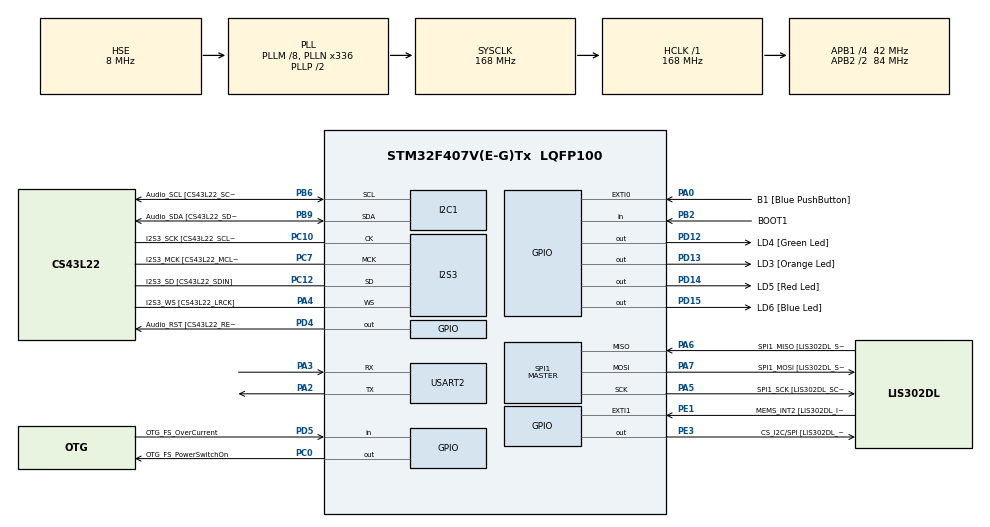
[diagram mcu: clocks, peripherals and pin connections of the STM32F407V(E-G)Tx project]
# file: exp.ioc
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FREERTOS.Tasks01=IdleTask,8,128,StartIDLETask,Default,NULL,Dynamic,NULL,NULL;myTask02,16,128,StartTask02,Default,NULL,Dynamic,NULL,NULL;myTask03,24,128,StartTask03,Default,NULL,Dynamic,NULL,NULL;myIWDGTask04,32,128,StartIWDGTask04,Default,NULL,Dynamic,NULL,NULL;myLoRaSETTask05,48,128,StartLoRaSETTask05,Default,NULL,Dynamic,NULL,NULL
I2S3.AudioFreq-Half_Duplex_Master=I2S_AUDIOFREQ_96K
I2S3.ErrorAudioFreq=-2.34 %
I2S3.ErrorAudioFreq-Half_Duplex_Master=0.8 %
I2S3.FullDuplexMode=I2S_FULLDUPLEXMODE_DISABLE
I2S3.Instance=SPI$Index
I2S3.RealAudioFreq=93.75 KHz
I2S3.RealAudioFreq-Half_Duplex_Master=96.774 KHz
I2S3.VirtualMode=I2S_MODE_MASTER
IWDG.Prescaler=IWDG_PRESCALER_64
Mcu.Family=STM32F4
Mcu.Name=STM32F407V(E-G)Tx
Mcu.Package=LQFP100
NVIC.PriorityGroup=NVIC_PRIORITYGROUP_4
PA0-WKUP.GPIO_Label=B1 [Blue PushButton]
PA0-WKUP.GPIO_ModeDefaultEXTI=GPIO_MODE_EVT_RISING
PA0-WKUP.GPIO_PuPd=GPIO_NOPULL
PA0-WKUP.Signal=GPXTI0
PA10.GPIO_Label=OTG_FS_ID
PA10.GPIO_Mode=GPIO_MODE_AF_PP
PA10.GPIO_PuPd=GPIO_NOPULL
PA10.GPIO_Speed=GPIO_SPEED_FREQ_LOW
PA10.Signal=USB_OTG_FS_ID
PA11.GPIO_Label=OTG_FS_DM
PA11.GPIO_Mode=GPIO_MODE_AF_PP
PA11.GPIO_PuPd=GPIO_NOPULL
PA11.GPIO_Speed=GPIO_SPEED_FREQ_LOW
PA11.Signal=USB_OTG_FS_DM
PA12.GPIO_Label=OTG_FS_DP
PA12.GPIO_Mode=GPIO_MODE_AF_PP
PA12.GPIO_PuPd=GPIO_NOPULL
PA12.GPIO_Speed=GPIO_SPEED_FREQ_LOW
PA12.Signal=USB_OTG_FS_DP
PA13.GPIO_Label=SWDIO
PA13.Mode=Serial_Wire
PA13.Signal=SYS_JTMS-SWDIO
PA14.GPIO_Label=SWCLK
PA14.Mode=Serial_Wire
PA14.Signal=SYS_JTCK-SWCLK
PA2.Mode=Asynchronous
PA2.Signal=USART2_TX
PA3.Mode=Asynchronous
PA3.Signal=USART2_RX
PA4.GPIO_Label=I2S3_WS [CS43L22_LRCK]
PA4.GPIO_Mode=GPIO_MODE_AF_PP
PA4.GPIO_PuPd=GPIO_NOPULL
PA4.GPIO_Speed=GPIO_SPEED_FREQ_LOW
PA4.Mode=Half_Duplex_Master
PA4.Signal=I2S3_WS
PA5.GPIO_Label=SPI1_SCK [LIS302DL_SCL/SPC]
PA5.GPIO_Mode=GPIO_MODE_AF_PP
PA5.GPIO_PuPd=GPIO_NOPULL
PA5.GPIO_Speed=GPIO_SPEED_FREQ_LOW
PA5.Mode=Full_Duplex_Master
PA5.Signal=SPI1_SCK
PA6.GPIO_Label=SPI1_MISO [LIS302DL_SDO]
PA6.GPIO_Mode=GPIO_MODE_AF_PP
PA6.GPIO_PuPd=GPIO_NOPULL
PA6.GPIO_Speed=GPIO_SPEED_FREQ_LOW
PA6.Mode=Full_Duplex_Master
PA6.Signal=SPI1_MISO
PA7.GPIO_Label=SPI1_MOSI [LIS302DL_SDA/SDI/SDO]
PA7.GPIO_Mode=GPIO_MODE_AF_PP
PA7.GPIO_PuPd=GPIO_NOPULL
PA7.GPIO_Speed=GPIO_SPEED_FREQ_LOW
PA7.Mode=Full_Duplex_Master
PA7.Signal=SPI1_MOSI
PA9.GPIO_Label=VBUS_FS
PA9.GPIO_Mode=GPIO_MODE_INPUT
PA9.GPIO_PuPd=GPIO_NOPULL
PA9.Signal=USB_OTG_FS_VBUS
PB10.GPIO_Label=CLK_IN [MP45DT02_CLK]
PB10.GPIO_Mode=GPIO_MODE_AF_PP
PB10.GPIO_PuPd=GPIO_NOPULL
PB10.GPIO_Speed=GPIO_SPEED_FREQ_LOW
PB10.Signal=I2S2_CK
PB2.GPIO_Label=BOOT1
PB2.GPIO_Mode=GPIO_MODE_INPUT
PB2.GPIO_PuPd=GPIO_NOPULL
PB2.Signal=GPIO_Input
PB3.GPIO_Label=SWO
PB3.Signal=SYS_JTDO-SWO
PB6.GPIO_Label=Audio_SCL [CS43L22_SCL]
PB6.GPIO_Mode=GPIO_MODE_AF_OD
PB6.GPIO_PuPd=GPIO_NOPULL
PB6.GPIO_Speed=GPIO_SPEED_FREQ_LOW
PB6.Mode=I2C
PB6.Signal=I2C1_SCL
PB9.GPIO_Label=Audio_SDA [CS43L22_SDA]
PB9.GPIO_Mode=GPIO_MODE_AF_OD
PB9.GPIO_PuPd=GPIO_NOPULL
PB9.GPIO_Speed=GPIO_SPEED_FREQ_LOW
PB9.Mode=I2C
PB9.Signal=I2C1_SDA
PC0.GPIO_Label=OTG_FS_PowerSwitchOn
PC0.GPIO_PuPd=GPIO_NOPULL
PC0.GPIO_Speed=GPIO_SPEED_FREQ_LOW
PC0.PinState=GPIO_PIN_SET
PC0.Signal=GPIO_Output
PC10.GPIO_Label=I2S3_SCK [CS43L22_SCLK]
PC10.GPIO_Mode=GPIO_MODE_AF_PP
PC10.GPIO_PuPd=GPIO_NOPULL
PC10.GPIO_Speed=GPIO_SPEED_FREQ_LOW
PC10.Mode=Half_Duplex_Master
PC10.Signal=I2S3_CK
PC12.GPIO_Label=I2S3_SD [CS43L22_SDIN]
PC12.GPIO_Mode=GPIO_MODE_AF_PP
PC12.GPIO_PuPd=GPIO_NOPULL
PC12.GPIO_Speed=GPIO_SPEED_FREQ_LOW
PC12.Mode=Half_Duplex_Master
PC12.Signal=I2S3_SD
PC14-OSC32_IN.GPIO_Label=PC14-OSC32_IN
PC14-OSC32_IN.Mode=LSE-External-Oscillator
PC14-OSC32_IN.Signal=RCC_OSC32_IN
PC15-OSC32_OUT.GPIO_Label=PC15-OSC32_OUT
PC15-OSC32_OUT.Mode=LSE-External-Oscillator
PC15-OSC32_OUT.Signal=RCC_OSC32_OUT
PC3.GPIO_Label=PDM_OUT [MP45DT02_DOUT]
PC3.GPIO_Mode=GPIO_MODE_AF_PP
PC3.GPIO_PuPd=GPIO_NOPULL
PC3.GPIO_Speed=GPIO_SPEED_FREQ_LOW
PC3.Signal=I2S2_SD
PC7.GPIO_Label=I2S3_MCK [CS43L22_MCLK]
PC7.GPIO_Mode=GPIO_MODE_AF_PP
PC7.GPIO_PuPd=GPIO_NOPULL
PC7.GPIO_Speed=GPIO_SPEED_FREQ_LOW
PC7.Mode=Master_Clock_Activated
PC7.Signal=I2S3_MCK
PD12.GPIO_Label=LD4 [Green Led]
PD12.GPIO_PuPd=GPIO_NOPULL
PD12.GPIO_Speed=GPIO_SPEED_FREQ_LOW
PD12.Signal=GPIO_Output
PD13.GPIO_Label=LD3 [Orange Led]
PD13.GPIO_PuPd=GPIO_NOPULL
PD13.GPIO_Speed=GPIO_SPEED_FREQ_LOW
PD13.Signal=GPIO_Output
PD14.GPIO_Label=LD5 [Red Led]
PD14.GPIO_PuPd=GPIO_NOPULL
PD14.GPIO_Speed=GPIO_SPEED_FREQ_LOW
PD14.Signal=GPIO_Output
PD15.GPIO_Label=LD6 [Blue Led]
PD15.GPIO_PuPd=GPIO_NOPULL
PD15.GPIO_Speed=GPIO_SPEED_FREQ_LOW
PD15.Signal=GPIO_Output
PD4.GPIO_Label=Audio_RST [CS43L22_RESET]
PD4.GPIO_PuPd=GPIO_NOPULL
PD4.GPIO_Speed=GPIO_SPEED_FREQ_LOW
PD4.Signal=GPIO_Output
PD5.GPIO_Label=OTG_FS_OverCurrent
PD5.GPIO_Mode=GPIO_MODE_INPUT
PD5.GPIO_PuPd=GPIO_NOPULL
PD5.Signal=GPIO_Input
PE1.GPIO_Label=MEMS_INT2 [LIS302DL_INT2]
PE1.GPIO_ModeDefaultEXTI=GPIO_MODE_EVT_RISING
PE1.GPIO_PuPd=GPIO_NOPULL
PE1.Signal=GPXTI1
PE3.GPIO_Label=CS_I2C/SPI [LIS302DL_CS_I2C/SPI]
PE3.GPIO_PuPd=GPIO_NOPULL
PE3.GPIO_Speed=GPIO_SPEED_FREQ_LOW
PE3.Signal=GPIO_Output
PH0-OSC_IN.GPIO_Label=PH0-OSC_IN
PH0-OSC_IN.Mode=HSE-External-Oscillator
PH0-OSC_IN.Signal=RCC_OSC_IN
PH1-OSC_OUT.GPIO_Label=PH1-OSC_OUT
PH1-OSC_OUT.Mode=HSE-External-Oscillator
PH1-OSC_OUT.Signal=RCC_OSC_OUT
ProjectManager.HeapSize=0x200
ProjectManager.StackSize=0x400
ProjectManager.TargetToolchain=STM32CubeIDE
RCC.48MHZClocksFreq_Value=48000000
RCC.AHBFreq_Value=168000000
RCC.APB1CLKDivider=RCC_HCLK_DIV4
RCC.APB1Freq_Value=42000000
RCC.APB1TimFreq_Value=84000000
RCC.APB2CLKDivider=RCC_HCLK_DIV2
RCC.APB2Freq_Value=84000000
RCC.APB2TimFreq_Value=168000000
RCC.CortexFreq_Value=168000000
RCC.HCLKFreq_Value=168000000
RCC.HSE_VALUE=8000000
RCC.HSI_VALUE=16000000
RCC.PLLM=8
RCC.PLLN=336
RCC.PLLQ=7
RCC.PLLSourceVirtual=RCC_PLLSOURCE_HSE
RCC.SYSCLKFreq_VALUE=168000000
RCC.SYSCLKSource=RCC_SYSCLKSOURCE_PLLCLK
RCC.VCOOutputFreq_Value=336000000
SPI1.BaudRatePrescaler-Full_Duplex_Master=SPI_BAUDRATEPRESCALER_2
SPI1.CalculateBaudRate-Full_Duplex_Master=42.0 MBits/s
SPI1.Direction=SPI_DIRECTION_2LINES
SPI1.Mode=SPI_MODE_MASTER
SPI1.Mode-Full_Duplex_Master=SPI_MODE_MASTER
SPI1.VirtualType=VM_MASTER
USART2.VirtualMode=VM_ASYNC
VP_FREERTOS_VS_CMSIS_V2.Mode=CMSIS_V2
VP_IWDG_VS_IWDG.Mode=IWDG_Activate
VP_RTC_VS_RTC_Activate.Mode=RTC_Enabled
VP_RTC_VS_RTC_Calendar.Mode=RTC_Calendar
VP_TIM1_VS_ClockSourceINT.Mode=Internal
board=STM32F407G-DISC1

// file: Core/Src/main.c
/* USER CODE BEGIN Header */
/**
  ******************************************************************************
  * @file           : main.c
  * @brief          : Main program body
  ******************************************************************************
  * @attention
  *
  * <h2><center>&copy; Copyright (c) 2021 STMicroelectronics.
  * All rights reserved.</center></h2>
  *
  * This software component is licensed by ST under Ultimate Liberty license
  * SLA0044, the "License"; You may not use this file except in compliance with
  * the License. You may obtain a copy of the License at:
  *                             www.st.com/SLA0044
  *
  ******************************************************************************
  */
/* USER CODE END Header */

#include "main.h"
#include "cmsis_os.h"

/* USER CODE BEGIN Includes */
#include "FreeRTOSConfig.h"
#include "event_groups.h"
/* USER CODE END Includes */

/* USER CODE BEGIN PD */
#define IWDG_BIT_myTask02   (1 << 0)  //task02 flag
#define IWDG_BIT_myTask03   (1 << 1)  //task03 flag
#define IWDG_BIT_ALL (IWDG_BIT_myTask02 | IWDG_BIT_myTask03) //feed dog
/* USER CODE END PD */

I2C_HandleTypeDef hi2c1;

I2S_HandleTypeDef hi2s3;

IWDG_HandleTypeDef hiwdg;

RTC_HandleTypeDef hrtc;

SPI_HandleTypeDef hspi1;

TIM_HandleTypeDef htim1;

UART_HandleTypeDef huart2;

/* Definitions for IdleTask */
osThreadId_t IdleTaskHandle;
const osThreadAttr_t IdleTask_attributes = {
  .name = "IdleTask",
  .priority = (osPriority_t) osPriorityLow,
  .stack_size = 128 * 4
};
/* Definitions for myTask02 */
osThreadId_t myTask02Handle;
const osThreadAttr_t myTask02_attributes = {
  .name = "myTask02",
  .priority = (osPriority_t) osPriorityBelowNormal,
  .stack_size = 128 * 4
};
/* Definitions for myTask03 */
osThreadId_t myTask03Handle;
const osThreadAttr_t myTask03_attributes = {
  .name = "myTask03",
  .priority = (osPriority_t) osPriorityNormal,
  .stack_size = 128 * 4
};
/* Definitions for myIWDGTask04 */
osThreadId_t myIWDGTask04Handle;
const osThreadAttr_t myIWDGTask04_attributes = {
  .name = "myIWDGTask04",
  .priority = (osPriority_t) osPriorityAboveNormal,
  .stack_size = 128 * 4
};
/* Definitions for myLoRaSETTask05 */
osThreadId_t myLoRaSETTask05Handle;
const osThreadAttr_t myLoRaSETTask05_attributes = {
  .name = "myLoRaSETTask05",
  .priority = (osPriority_t) osPriorityRealtime,
  .stack_size = 128 * 4
};
/* USER CODE BEGIN PV */
EventGroupHandle_t iwdgEventGroup;
EventBits_t uxBits;

/* USER CODE END PV */

void SystemClock_Config(void);
static void MX_GPIO_Init(void);
static void MX_I2C1_Init(void);
static void MX_I2S3_Init(void);
static void MX_SPI1_Init(void);
static void MX_IWDG_Init(void);
static void MX_RTC_Init(void);
static void MX_TIM1_Init(void);
static void MX_USART2_UART_Init(void);
void StartIDLETask(void *argument);
void StartTask02(void *argument);
void StartTask03(void *argument);
void StartIWDGTask04(void *argument);
void StartLoRaSETTask05(void *argument);

int main(void)
{
  /* USER CODE BEGIN 1 */
  iwdgEventGroup = xEventGroupCreate();
  /* USER CODE END 1 */

  /* MCU Configuration--------------------------------------------------------*/

  /* Reset of all peripherals, Initializes the Flash interface and the Systick. */
  HAL_Init();

  /* Configure the system clock */
  SystemClock_Config();

  /* Initialize all configured peripherals */
  MX_GPIO_Init();
  MX_I2C1_Init();
  MX_I2S3_Init();
  MX_SPI1_Init();
  MX_IWDG_Init();
  MX_RTC_Init();
  MX_TIM1_Init();
  MX_USART2_UART_Init();

  /* Init scheduler */
  osKernelInitialize();

  /* Create the thread(s) */
  /* creation of IdleTask */
  IdleTaskHandle = osThreadNew(StartIDLETask, NULL, &IdleTask_attributes);

  /* creation of myTask02 */
  myTask02Handle = osThreadNew(StartTask02, NULL, &myTask02_attributes);

  /* creation of myTask03 */
  myTask03Handle = osThreadNew(StartTask03, NULL, &myTask03_attributes);

  /* creation of myIWDGTask04 */
  myIWDGTask04Handle = osThreadNew(StartIWDGTask04, NULL, &myIWDGTask04_attributes);

  /* creation of myLoRaSETTask05 */
  myLoRaSETTask05Handle = osThreadNew(StartLoRaSETTask05, NULL, &myLoRaSETTask05_attributes);

  /* Start scheduler */
  osKernelStart();

  /* We should never get here as control is now taken by the scheduler */
  /* Infinite loop */
  while (1)
  {

  }
}

void SystemClock_Config(void)
{
  RCC_OscInitTypeDef RCC_OscInitStruct = {0};
  RCC_ClkInitTypeDef RCC_ClkInitStruct = {0};
  RCC_PeriphCLKInitTypeDef PeriphClkInitStruct = {0};

  /** Configure the main internal regulator output voltage
  */
  __HAL_RCC_PWR_CLK_ENABLE();
  __HAL_PWR_VOLTAGESCALING_CONFIG(PWR_REGULATOR_VOLTAGE_SCALE1);
  /** Initializes the CPU, AHB and APB busses clocks
  */
  RCC_OscInitStruct.OscillatorType = RCC_OSCILLATORTYPE_LSI|RCC_OSCILLATORTYPE_HSE;
  RCC_OscInitStruct.HSEState = RCC_HSE_ON;
  RCC_OscInitStruct.LSIState = RCC_LSI_ON;
  RCC_OscInitStruct.PLL.PLLState = RCC_PLL_ON;
  RCC_OscInitStruct.PLL.PLLSource = RCC_PLLSOURCE_HSE;
  RCC_OscInitStruct.PLL.PLLM = 8;
  RCC_OscInitStruct.PLL.PLLN = 336;
  RCC_OscInitStruct.PLL.PLLP = RCC_PLLP_DIV2;
  RCC_OscInitStruct.PLL.PLLQ = 7;
  if (HAL_RCC_OscConfig(&RCC_OscInitStruct) != HAL_OK)
  {
    Error_Handler();
  }
  /** Initializes the CPU, AHB and APB busses clocks
  */
  RCC_ClkInitStruct.ClockType = RCC_CLOCKTYPE_HCLK|RCC_CLOCKTYPE_SYSCLK
                              |RCC_CLOCKTYPE_PCLK1|RCC_CLOCKTYPE_PCLK2;
  RCC_ClkInitStruct.SYSCLKSource = RCC_SYSCLKSOURCE_PLLCLK;
  RCC_ClkInitStruct.AHBCLKDivider = RCC_SYSCLK_DIV1;
  RCC_ClkInitStruct.APB1CLKDivider = RCC_HCLK_DIV4;
  RCC_ClkInitStruct.APB2CLKDivider = RCC_HCLK_DIV2;

  if (HAL_RCC_ClockConfig(&RCC_ClkInitStruct, FLASH_LATENCY_5) != HAL_OK)
  {
    Error_Handler();
  }
  PeriphClkInitStruct.PeriphClockSelection = RCC_PERIPHCLK_I2S|RCC_PERIPHCLK_RTC;
  PeriphClkInitStruct.PLLI2S.PLLI2SN = 192;
  PeriphClkInitStruct.PLLI2S.PLLI2SR = 2;
  PeriphClkInitStruct.RTCClockSelection = RCC_RTCCLKSOURCE_LSI;
  if (HAL_RCCEx_PeriphCLKConfig(&PeriphClkInitStruct) != HAL_OK)
  {
    Error_Handler();
  }
}

static void MX_I2C1_Init(void)
{

  hi2c1.Instance = I2C1;
  hi2c1.Init.ClockSpeed = 100000;
  hi2c1.Init.DutyCycle = I2C_DUTYCYCLE_2;
  hi2c1.Init.OwnAddress1 = 0;
  hi2c1.Init.AddressingMode = I2C_ADDRESSINGMODE_7BIT;
  hi2c1.Init.DualAddressMode = I2C_DUALADDRESS_DISABLE;
  hi2c1.Init.OwnAddress2 = 0;
  hi2c1.Init.GeneralCallMode = I2C_GENERALCALL_DISABLE;
  hi2c1.Init.NoStretchMode = I2C_NOSTRETCH_DISABLE;
  if (HAL_I2C_Init(&hi2c1) != HAL_OK)
  {
    Error_Handler();
  }

}

static void MX_I2S3_Init(void)
{

  hi2s3.Instance = SPI3;
  hi2s3.Init.Mode = I2S_MODE_MASTER_TX;
  hi2s3.Init.Standard = I2S_STANDARD_PHILIPS;
  hi2s3.Init.DataFormat = I2S_DATAFORMAT_16B;
  hi2s3.Init.MCLKOutput = I2S_MCLKOUTPUT_ENABLE;
  hi2s3.Init.AudioFreq = I2S_AUDIOFREQ_96K;
  hi2s3.Init.CPOL = I2S_CPOL_LOW;
  hi2s3.Init.ClockSource = I2S_CLOCK_PLL;
  hi2s3.Init.FullDuplexMode = I2S_FULLDUPLEXMODE_DISABLE;
  if (HAL_I2S_Init(&hi2s3) != HAL_OK)
  {
    Error_Handler();
  }

}

static void MX_IWDG_Init(void)
{

  hiwdg.Instance = IWDG;
  hiwdg.Init.Prescaler = IWDG_PRESCALER_64;
  hiwdg.Init.Reload = 4095;
  if (HAL_IWDG_Init(&hiwdg) != HAL_OK)
  {
    Error_Handler();
  }

}

static void MX_RTC_Init(void)
{

  RTC_TimeTypeDef sTime = {0};
  RTC_DateTypeDef sDate = {0};

  /** Initialize RTC Only
  */
  hrtc.Instance = RTC;
  hrtc.Init.HourFormat = RTC_HOURFORMAT_24;
  hrtc.Init.AsynchPrediv = 127;
  hrtc.Init.SynchPrediv = 255;
  hrtc.Init.OutPut = RTC_OUTPUT_DISABLE;
  hrtc.Init.OutPutPolarity = RTC_OUTPUT_POLARITY_HIGH;
  hrtc.Init.OutPutType = RTC_OUTPUT_TYPE_OPENDRAIN;
  if (HAL_RTC_Init(&hrtc) != HAL_OK)
  {
    Error_Handler();
  }

  /** Initialize RTC and set the Time and Date
  */
  sTime.Hours = 0x0;
  sTime.Minutes = 0x0;
  sTime.Seconds = 0x0;
  sTime.DayLightSaving = RTC_DAYLIGHTSAVING_NONE;
  sTime.StoreOperation = RTC_STOREOPERATION_RESET;
  if (HAL_RTC_SetTime(&hrtc, &sTime, RTC_FORMAT_BCD) != HAL_OK)
  {
    Error_Handler();
  }
  sDate.WeekDay = RTC_WEEKDAY_MONDAY;
  sDate.Month = RTC_MONTH_JANUARY;
  sDate.Date = 0x1;
  sDate.Year = 0x0;

  if (HAL_RTC_SetDate(&hrtc, &sDate, RTC_FORMAT_BCD) != HAL_OK)
  {
    Error_Handler();
  }

}

static void MX_SPI1_Init(void)
{

  /* SPI1 parameter configuration*/
  hspi1.Instance = SPI1;
  hspi1.Init.Mode = SPI_MODE_MASTER;
  hspi1.Init.Direction = SPI_DIRECTION_2LINES;
  hspi1.Init.DataSize = SPI_DATASIZE_8BIT;
  hspi1.Init.CLKPolarity = SPI_POLARITY_LOW;
  hspi1.Init.CLKPhase = SPI_PHASE_1EDGE;
  hspi1.Init.NSS = SPI_NSS_SOFT;
  hspi1.Init.BaudRatePrescaler = SPI_BAUDRATEPRESCALER_2;
  hspi1.Init.FirstBit = SPI_FIRSTBIT_MSB;
  hspi1.Init.TIMode = SPI_TIMODE_DISABLE;
  hspi1.Init.CRCCalculation = SPI_CRCCALCULATION_DISABLE;
  hspi1.Init.CRCPolynomial = 10;
  if (HAL_SPI_Init(&hspi1) != HAL_OK)
  {
    Error_Handler();
  }

}

static void MX_TIM1_Init(void)
{

  TIM_ClockConfigTypeDef sClockSourceConfig = {0};
  TIM_MasterConfigTypeDef sMasterConfig = {0};

  htim1.Instance = TIM1;
  htim1.Init.Prescaler = 0;
  htim1.Init.CounterMode = TIM_COUNTERMODE_UP;
  htim1.Init.Period = 0;
  htim1.Init.ClockDivision = TIM_CLOCKDIVISION_DIV1;
  htim1.Init.RepetitionCounter = 0;
  htim1.Init.AutoReloadPreload = TIM_AUTORELOAD_PRELOAD_DISABLE;
  if (HAL_TIM_Base_Init(&htim1) != HAL_OK)
  {
    Error_Handler();
  }
  sClockSourceConfig.ClockSource = TIM_CLOCKSOURCE_INTERNAL;
  if (HAL_TIM_ConfigClockSource(&htim1, &sClockSourceConfig) != HAL_OK)
  {
    Error_Handler();
  }
  sMasterConfig.MasterOutputTrigger = TIM_TRGO_RESET;
  sMasterConfig.MasterSlaveMode = TIM_MASTERSLAVEMODE_DISABLE;
  if (HAL_TIMEx_MasterConfigSynchronization(&htim1, &sMasterConfig) != HAL_OK)
  {
    Error_Handler();
  }

}

static void MX_USART2_UART_Init(void)
{

  huart2.Instance = USART2;
  huart2.Init.BaudRate = 115200;
  huart2.Init.WordLength = UART_WORDLENGTH_8B;
  huart2.Init.StopBits = UART_STOPBITS_1;
  huart2.Init.Parity = UART_PARITY_NONE;
  huart2.Init.Mode = UART_MODE_TX_RX;
  huart2.Init.HwFlowCtl = UART_HWCONTROL_NONE;
  huart2.Init.OverSampling = UART_OVERSAMPLING_16;
  if (HAL_UART_Init(&huart2) != HAL_OK)
  {
    Error_Handler();
  }

}

static void MX_GPIO_Init(void)
{
  GPIO_InitTypeDef GPIO_InitStruct = {0};

  /* GPIO Ports Clock Enable */
  __HAL_RCC_GPIOE_CLK_ENABLE();
  __HAL_RCC_GPIOC_CLK_ENABLE();
  __HAL_RCC_GPIOH_CLK_ENABLE();
  __HAL_RCC_GPIOA_CLK_ENABLE();
  __HAL_RCC_GPIOB_CLK_ENABLE();
  __HAL_RCC_GPIOD_CLK_ENABLE();

  /*Configure GPIO pin Output Level */
  HAL_GPIO_WritePin(CS_I2C_SPI_GPIO_Port, CS_I2C_SPI_Pin, GPIO_PIN_RESET);

  /*Configure GPIO pin Output Level */
  HAL_GPIO_WritePin(OTG_FS_PowerSwitchOn_GPIO_Port, OTG_FS_PowerSwitchOn_Pin, GPIO_PIN_SET);

  /*Configure GPIO pin Output Level */
  HAL_GPIO_WritePin(GPIOD, LD4_Pin|LD3_Pin|LD5_Pin|LD6_Pin
                          |Audio_RST_Pin, GPIO_PIN_RESET);

  /*Configure GPIO pin : CS_I2C_SPI_Pin */
  GPIO_InitStruct.Pin = CS_I2C_SPI_Pin;
  GPIO_InitStruct.Mode = GPIO_MODE_OUTPUT_PP;
  GPIO_InitStruct.Pull = GPIO_NOPULL;
  GPIO_InitStruct.Speed = GPIO_SPEED_FREQ_LOW;
  HAL_GPIO_Init(CS_I2C_SPI_GPIO_Port, &GPIO_InitStruct);

  /*Configure GPIO pin : OTG_FS_PowerSwitchOn_Pin */
  GPIO_InitStruct.Pin = OTG_FS_PowerSwitchOn_Pin;
  GPIO_InitStruct.Mode = GPIO_MODE_OUTPUT_PP;
  GPIO_InitStruct.Pull = GPIO_NOPULL;
  GPIO_InitStruct.Speed = GPIO_SPEED_FREQ_LOW;
  HAL_GPIO_Init(OTG_FS_PowerSwitchOn_GPIO_Port, &GPIO_InitStruct);

  /*Configure GPIO pin : PDM_OUT_Pin */
  GPIO_InitStruct.Pin = PDM_OUT_Pin;
  GPIO_InitStruct.Mode = GPIO_MODE_AF_PP;
  GPIO_InitStruct.Pull = GPIO_NOPULL;
  GPIO_InitStruct.Speed = GPIO_SPEED_FREQ_LOW;
  GPIO_InitStruct.Alternate = GPIO_AF5_SPI2;
  HAL_GPIO_Init(PDM_OUT_GPIO_Port, &GPIO_InitStruct);

  /*Configure GPIO pin : B1_Pin */
  GPIO_InitStruct.Pin = B1_Pin;
  GPIO_InitStruct.Mode = GPIO_MODE_EVT_RISING;
  GPIO_InitStruct.Pull = GPIO_NOPULL;
  HAL_GPIO_Init(B1_GPIO_Port, &GPIO_InitStruct);

  /*Configure GPIO pin : BOOT1_Pin */
  GPIO_InitStruct.Pin = BOOT1_Pin;
  GPIO_InitStruct.Mode = GPIO_MODE_INPUT;
  GPIO_InitStruct.Pull = GPIO_NOPULL;
  HAL_GPIO_Init(BOOT1_GPIO_Port, &GPIO_InitStruct);

  /*Configure GPIO pin : CLK_IN_Pin */
  GPIO_InitStruct.Pin = CLK_IN_Pin;
  GPIO_InitStruct.Mode = GPIO_MODE_AF_PP;
  GPIO_InitStruct.Pull = GPIO_NOPULL;
  GPIO_InitStruct.Speed = GPIO_SPEED_FREQ_LOW;
  GPIO_InitStruct.Alternate = GPIO_AF5_SPI2;
  HAL_GPIO_Init(CLK_IN_GPIO_Port, &GPIO_InitStruct);

  /*Configure GPIO pins : LD4_Pin LD3_Pin LD5_Pin LD6_Pin
                           Audio_RST_Pin */
  GPIO_InitStruct.Pin = LD4_Pin|LD3_Pin|LD5_Pin|LD6_Pin
                          |Audio_RST_Pin;
  GPIO_InitStruct.Mode = GPIO_MODE_OUTPUT_PP;
  GPIO_InitStruct.Pull = GPIO_NOPULL;
  GPIO_InitStruct.Speed = GPIO_SPEED_FREQ_LOW;
  HAL_GPIO_Init(GPIOD, &GPIO_InitStruct);

  /*Configure GPIO pin : VBUS_FS_Pin */
  GPIO_InitStruct.Pin = VBUS_FS_Pin;
  GPIO_InitStruct.Mode = GPIO_MODE_INPUT;
  GPIO_InitStruct.Pull = GPIO_NOPULL;
  HAL_GPIO_Init(VBUS_FS_GPIO_Port, &GPIO_InitStruct);

  /*Configure GPIO pins : OTG_FS_ID_Pin OTG_FS_DM_Pin OTG_FS_DP_Pin */
  GPIO_InitStruct.Pin = OTG_FS_ID_Pin|OTG_FS_DM_Pin|OTG_FS_DP_Pin;
  GPIO_InitStruct.Mode = GPIO_MODE_AF_PP;
  GPIO_InitStruct.Pull = GPIO_NOPULL;
  GPIO_InitStruct.Speed = GPIO_SPEED_FREQ_LOW;
  GPIO_InitStruct.Alternate = GPIO_AF10_OTG_FS;
  HAL_GPIO_Init(GPIOA, &GPIO_InitStruct);

  /*Configure GPIO pin : OTG_FS_OverCurrent_Pin */
  GPIO_InitStruct.Pin = OTG_FS_OverCurrent_Pin;
  GPIO_InitStruct.Mode = GPIO_MODE_INPUT;
  GPIO_InitStruct.Pull = GPIO_NOPULL;
  HAL_GPIO_Init(OTG_FS_OverCurrent_GPIO_Port, &GPIO_InitStruct);

  /*Configure GPIO pin : MEMS_INT2_Pin */
  GPIO_InitStruct.Pin = MEMS_INT2_Pin;
  GPIO_InitStruct.Mode = GPIO_MODE_EVT_RISING;
  GPIO_InitStruct.Pull = GPIO_NOPULL;
  HAL_GPIO_Init(MEMS_INT2_GPIO_Port, &GPIO_InitStruct);

}

void StartIDLETask(void *argument)
{
  for(;;)
  {
    osDelay(1);
  }
}

void StartTask02(void *argument)
{
  /* USER CODE BEGIN StartTask02 */
  uint8_t task_run1[]= "AT+SEND=3,14,Task running 2\r\n";
  /* Infinite loop */
  for(;;)
  {
    HAL_UART_Transmit( &huart2, task_run1, sizeof(task_run1)-1, 10000);
	HAL_Delay(1000);

	HAL_GPIO_WritePin(GPIOD, GPIO_PIN_12, GPIO_PIN_SET);
	HAL_GPIO_WritePin(GPIOD, GPIO_PIN_13, GPIO_PIN_SET);
	HAL_GPIO_WritePin(GPIOD, GPIO_PIN_14, GPIO_PIN_SET);
	HAL_GPIO_WritePin(GPIOD, GPIO_PIN_15, GPIO_PIN_SET);
	HAL_Delay(50);
	HAL_GPIO_WritePin(GPIOD, GPIO_PIN_12, GPIO_PIN_RESET);
	HAL_GPIO_WritePin(GPIOD, GPIO_PIN_13, GPIO_PIN_RESET);
	HAL_GPIO_WritePin(GPIOD, GPIO_PIN_14, GPIO_PIN_RESET);
	HAL_GPIO_WritePin(GPIOD, GPIO_PIN_15, GPIO_PIN_RESET);

	uxBits = xEventGroupSetBits(iwdgEventGroup , IWDG_BIT_myTask02);
	vTaskResume( myTask03Handle );
  }
  /* USER CODE END StartTask02 */
}

void StartTask03(void *argument)
{
  /* USER CODE BEGIN StartTask03 */
  uint8_t task_run0[]= "AT+SEND=3,14,Task running 1\r\n";
  /* Infinite loop */
  for(;;)
  {
	HAL_UART_Transmit( &huart2, task_run0, sizeof(task_run0)-1, 10000);
	HAL_Delay(1000);
	uxBits = xEventGroupSetBits(iwdgEventGroup , IWDG_BIT_myTask03);
	vTaskSuspend(myTask03Handle);

  }
  /* USER CODE END StartTask03 */
}

void StartIWDGTask04(void *argument)
{
  /* USER CODE BEGIN StartIWDGTask04 */

  const TickType_t	xTicksToWait = 100 / portTICK_PERIOD_MS*10; /* MAX Delay 1s */
  /*uint8_t data2[]= "AT+SEND=3,24,NULL xEventGroupCreate  \r\n";
  if(iwdgEventGroup == NULL)
  {
	  HAL_UART_Transmit( &huart2, data2, sizeof(data2)-1, 10000);
  }*/
  /* Infinite loop */
  for(;;)
  {
	uxBits = xEventGroupWaitBits(iwdgEventGroup,IWDG_BIT_ALL,pdTRUE,pdTRUE,xTicksToWait);
	if((uxBits & IWDG_BIT_ALL) == IWDG_BIT_ALL)
	{
		HAL_IWDG_Refresh(&hiwdg); // 4 sec if no set up will reset int main()
	}
  }
  /* USER CODE END StartIWDGTask04 */
}

void StartLoRaSETTask05(void *argument)
{
  /* USER CODE BEGIN StartLoRaSETTask05 */
  uint8_t data1[]="AT+PARAMETER=10,7,1,7\r\n";
  uint8_t data2[]="AT+BAND=434000000\r\n";
  uint8_t data3[]="AT+CRFOP=00\r\n";

  uint8_t Init_Check[]= "AT+SEND=3,16,CubeSatsystem OK\r\n";

  /* Infinite loop */
  for(;;)
  {
	HAL_UART_Transmit( &huart2, data1, sizeof(data1)-1, 10000);
	HAL_Delay(1000);
	HAL_UART_Transmit( &huart2, data2, sizeof(data2)-1, 10000);
	HAL_Delay(1000);
	HAL_UART_Transmit( &huart2, data3, sizeof(data3)-1, 10000);
	HAL_Delay(1000);
	HAL_UART_Transmit( &huart2, Init_Check, sizeof(Init_Check)-1, 10000);
	HAL_Delay(1000);

	vTaskDelete(myLoRaSETTask05Handle);
  }
  /* USER CODE END StartLoRaSETTask05 */
}

void Error_Handler(void)
{
}

/************************ (C) COPYRIGHT STMicroelectronics *****END OF FILE****/
